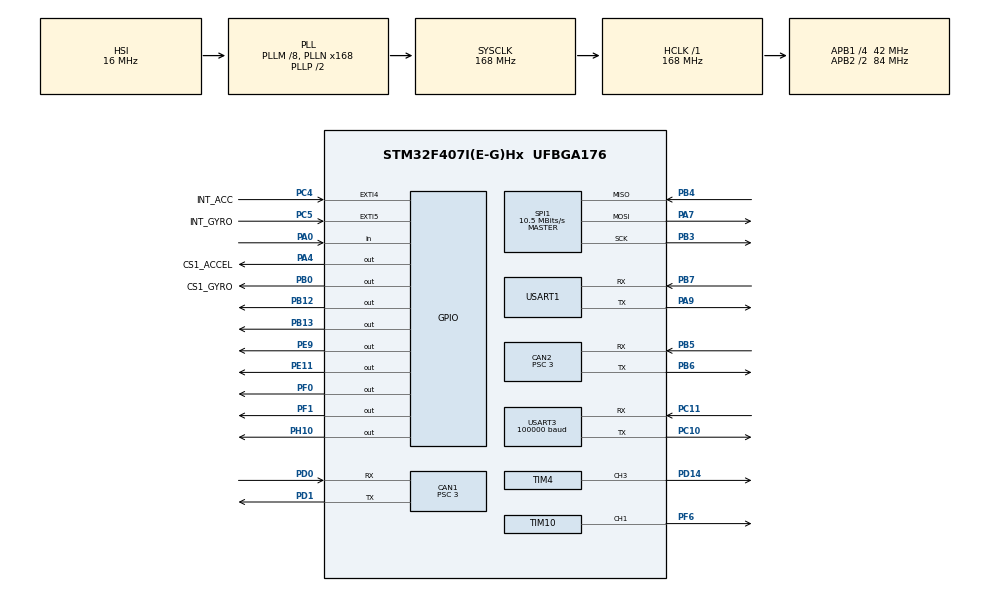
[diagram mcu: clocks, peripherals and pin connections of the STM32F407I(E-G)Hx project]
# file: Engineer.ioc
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CAN1.BS1=CAN_BS1_10TQ
CAN1.BS2=CAN_BS2_3TQ
CAN1.CalculateBaudRate=1000000
CAN1.CalculateTimeBit=1000
CAN1.CalculateTimeQuantum=71.42857142857143
CAN1.Prescaler=3
CAN2.BS1=CAN_BS1_10TQ
CAN2.BS2=CAN_BS2_3TQ
CAN2.CalculateBaudRate=1000000
CAN2.CalculateTimeBit=1000
CAN2.CalculateTimeQuantum=71.42857142857143
CAN2.Prescaler=3
Dma.Request0=USART3_RX
Dma.Request1=SPI1_RX
Dma.Request2=SPI1_TX
Dma.Request3=USART1_RX
Dma.SPI1_RX.1.Direction=DMA_PERIPH_TO_MEMORY
Dma.SPI1_RX.1.FIFOMode=DMA_FIFOMODE_ENABLE
Dma.SPI1_RX.1.FIFOThreshold=DMA_FIFO_THRESHOLD_FULL
Dma.SPI1_RX.1.Instance=DMA2_Stream0
Dma.SPI1_RX.1.MemBurst=DMA_MBURST_SINGLE
Dma.SPI1_RX.1.MemDataAlignment=DMA_MDATAALIGN_BYTE
Dma.SPI1_RX.1.MemInc=DMA_MINC_ENABLE
Dma.SPI1_RX.1.Mode=DMA_NORMAL
Dma.SPI1_RX.1.PeriphBurst=DMA_PBURST_SINGLE
Dma.SPI1_RX.1.PeriphDataAlignment=DMA_PDATAALIGN_BYTE
Dma.SPI1_RX.1.PeriphInc=DMA_PINC_DISABLE
Dma.SPI1_RX.1.Priority=DMA_PRIORITY_LOW
Dma.SPI1_TX.2.Direction=DMA_MEMORY_TO_PERIPH
Dma.SPI1_TX.2.FIFOMode=DMA_FIFOMODE_DISABLE
Dma.SPI1_TX.2.Instance=DMA2_Stream3
Dma.SPI1_TX.2.MemDataAlignment=DMA_MDATAALIGN_BYTE
Dma.SPI1_TX.2.MemInc=DMA_MINC_ENABLE
Dma.SPI1_TX.2.Mode=DMA_NORMAL
Dma.SPI1_TX.2.PeriphDataAlignment=DMA_PDATAALIGN_BYTE
Dma.SPI1_TX.2.PeriphInc=DMA_PINC_DISABLE
Dma.SPI1_TX.2.Priority=DMA_PRIORITY_LOW
Dma.USART1_RX.3.Direction=DMA_PERIPH_TO_MEMORY
Dma.USART1_RX.3.FIFOMode=DMA_FIFOMODE_DISABLE
Dma.USART1_RX.3.Instance=DMA2_Stream2
Dma.USART1_RX.3.MemDataAlignment=DMA_MDATAALIGN_BYTE
Dma.USART1_RX.3.MemInc=DMA_MINC_ENABLE
Dma.USART1_RX.3.Mode=DMA_CIRCULAR
Dma.USART1_RX.3.PeriphDataAlignment=DMA_PDATAALIGN_BYTE
Dma.USART1_RX.3.PeriphInc=DMA_PINC_DISABLE
Dma.USART1_RX.3.Priority=DMA_PRIORITY_HIGH
Dma.USART3_RX.0.Direction=DMA_PERIPH_TO_MEMORY
Dma.USART3_RX.0.FIFOMode=DMA_FIFOMODE_DISABLE
Dma.USART3_RX.0.Instance=DMA1_Stream1
Dma.USART3_RX.0.MemDataAlignment=DMA_MDATAALIGN_BYTE
Dma.USART3_RX.0.MemInc=DMA_MINC_ENABLE
Dma.USART3_RX.0.Mode=DMA_CIRCULAR
Dma.USART3_RX.0.PeriphDataAlignment=DMA_PDATAALIGN_BYTE
Dma.USART3_RX.0.PeriphInc=DMA_PINC_DISABLE
Dma.USART3_RX.0.Priority=DMA_PRIORITY_HIGH
FREERTOS.INCLUDE_vTaskDelayUntil=1
FREERTOS.Tasks01=ImuTask,1,512,ImuTask_f,Default,NULL,Dynamic,NULL,NULL;ChassisTask,1,512,ChassisTask_f,Default,NULL,Dynamic,NULL,NULL;ShootTask,1,512,ShootTask_f,Default,NULL,Dynamic,NULL,NULL;ArmTask,1,512,ArmTask_f,Default,NULL,Dynamic,NULL,NULL
FREERTOS.configENABLE_FPU=1
FREERTOS.configMAX_TASK_NAME_LEN=32
FREERTOS.configTOTAL_HEAP_SIZE=20000
FREERTOS.configUSE_COUNTING_SEMAPHORES=1
Mcu.Family=STM32F4
Mcu.Name=STM32F407I(E-G)Hx
Mcu.Package=UFBGA176
NVIC.CAN1_RX0_IRQn=true\:5\:0\:false\:false\:true\:true\:true\:true\:true
NVIC.CAN1_RX1_IRQn=true\:5\:0\:false\:false\:true\:true\:true\:true\:true
NVIC.CAN2_RX0_IRQn=true\:5\:0\:false\:false\:true\:true\:true\:true\:true
NVIC.CAN2_RX1_IRQn=true\:5\:0\:false\:false\:true\:true\:true\:true\:true
NVIC.DMA1_Stream1_IRQn=true\:5\:0\:false\:false\:true\:true\:false\:true\:true
NVIC.DMA2_Stream0_IRQn=true\:5\:0\:false\:false\:true\:true\:false\:true\:true
NVIC.DMA2_Stream2_IRQn=true\:5\:0\:false\:false\:true\:true\:false\:true\:true
NVIC.DMA2_Stream3_IRQn=true\:5\:0\:false\:false\:true\:true\:false\:true\:true
NVIC.PriorityGroup=NVIC_PRIORITYGROUP_4
NVIC.SPI1_IRQn=true\:5\:0\:false\:false\:true\:true\:true\:true\:true
NVIC.TIM8_TRG_COM_TIM14_IRQn=true\:15\:0\:false\:false\:true\:false\:false\:true\:true
NVIC.TimeBase=TIM8_TRG_COM_TIM14_IRQn
NVIC.TimeBaseIP=TIM14
PA0-WKUP.Signal=GPIO_Input
PA13.Mode=Serial_Wire
PA13.Signal=SYS_JTMS-SWDIO
PA14.Mode=Serial_Wire
PA14.Signal=SYS_JTCK-SWCLK
PA4.GPIO_Label=CS1_ACCEL
PA4.GPIO_PuPd=GPIO_PULLUP
PA4.GPIO_Speed=GPIO_SPEED_FREQ_HIGH
PA4.PinState=GPIO_PIN_SET
PA4.Signal=GPIO_Output
PA7.GPIO_PuPd=GPIO_PULLUP
PA7.Mode=Full_Duplex_Master
PA7.Signal=SPI1_MOSI
PA9.Mode=Asynchronous
PA9.Signal=USART1_TX
PB0.GPIO_Label=CS1_GYRO
PB0.GPIO_PuPd=GPIO_PULLUP
PB0.GPIO_Speed=GPIO_SPEED_FREQ_HIGH
PB0.PinState=GPIO_PIN_SET
PB0.Signal=GPIO_Output
PB12.Signal=GPIO_Output
PB13.PinState=GPIO_PIN_RESET
PB13.Signal=GPIO_Output
PB14.GPIO_Label=DI
PB14.Signal=SPI2_MISO
PB15.GPIO_Label=DO
PB15.Signal=SPI2_MOSI
PB3.GPIO_PuPd=GPIO_PULLUP
PB3.Mode=Full_Duplex_Master
PB3.Signal=SPI1_SCK
PB4.GPIO_PuPd=GPIO_PULLUP
PB4.Mode=Full_Duplex_Master
PB4.Signal=SPI1_MISO
PB5.Mode=CAN_Activate
PB5.Signal=CAN2_RX
PB6.Mode=CAN_Activate
PB6.Signal=CAN2_TX
PB7.Mode=Asynchronous
PB7.Signal=USART1_RX
PC10.Mode=Asynchronous
PC10.Signal=USART3_TX
PC11.Mode=Asynchronous
PC11.Signal=USART3_RX
PC4.GPIO_Label=INT_ACC
PC4.GPIO_ModeDefaultEXTI=GPIO_MODE_IT_FALLING
PC4.Signal=GPXTI4
PC5.GPIO_Label=INT_GYRO
PC5.GPIO_ModeDefaultEXTI=GPIO_MODE_IT_FALLING
PC5.Signal=GPXTI5
PD0.Mode=CAN_Activate
PD0.Signal=CAN1_RX
PD1.Mode=CAN_Activate
PD1.Signal=CAN1_TX
PD14.GPIO_Speed=GPIO_SPEED_FREQ_HIGH
PD14.Signal=S_TIM4_CH3
PE11.Signal=GPIO_Output
PE9.Signal=GPIO_Output
PF0.Signal=GPIO_Output
PF1.Signal=GPIO_Output
PF6.Signal=S_TIM10_CH1
PH0-OSC_IN.Mode=HSE-External-Oscillator
PH0-OSC_IN.Signal=RCC_OSC_IN
PH1-OSC_OUT.Mode=HSE-External-Oscillator
PH1-OSC_OUT.Signal=RCC_OSC_OUT
PH10.Signal=GPIO_Output
ProjectManager.HeapSize=0x9000
ProjectManager.StackSize=0x9000
ProjectManager.TargetToolchain=MDK-ARM V5.32
RCC.48MHZClocksFreq_Value=84000000
RCC.AHBFreq_Value=168000000
RCC.APB1CLKDivider=RCC_HCLK_DIV4
RCC.APB1Freq_Value=42000000
RCC.APB1TimFreq_Value=84000000
RCC.APB2CLKDivider=RCC_HCLK_DIV2
RCC.APB2Freq_Value=84000000
RCC.APB2TimFreq_Value=168000000
RCC.CortexFreq_Value=168000000
RCC.HCLKFreq_Value=168000000
RCC.HSE_VALUE=25000000
RCC.HSI_VALUE=16000000
RCC.LSE_VALUE=32768
RCC.PLLM=8
RCC.PLLN=168
RCC.SYSCLKFreq_VALUE=168000000
RCC.SYSCLKSource=RCC_SYSCLKSOURCE_PLLCLK
RCC.VCOOutputFreq_Value=336000000
SH.S_TIM10_CH1.0=TIM10_CH1,PWM Generation1 CH1
SH.S_TIM4_CH3.0=TIM4_CH3,PWM Generation3 CH3
SPI1.BaudRatePrescaler=SPI_BAUDRATEPRESCALER_8
SPI1.CLKPhase=SPI_PHASE_2EDGE
SPI1.CLKPolarity=SPI_POLARITY_HIGH
SPI1.CalculateBaudRate=10.5 MBits/s
SPI1.Direction=SPI_DIRECTION_2LINES
SPI1.Mode=SPI_MODE_MASTER
SPI1.VirtualType=VM_MASTER
STMicroelectronics.X-CUBE-ALGOBUILD.1.4.0.LibraryCcDSPOoLibraryJjDSPOoLibrary=true
TIM10.Channel=TIM_CHANNEL_1
TIM10.Period=50000
TIM10.Prescaler=168-1
TIM4.Channel-PWM\ Generation3\ CH3=TIM_CHANNEL_3
TIM4.Period=1000-1
USART1.VirtualMode=VM_ASYNC
USART3.BaudRate=100000
USART3.Parity=PARITY_EVEN
USART3.VirtualMode=VM_ASYNC
USART3.WordLength=WORDLENGTH_8B
VP_FREERTOS_VS_CMSIS_V1.Mode=CMSIS_V1
VP_STMicroelectronics.X-CUBE-ALGOBUILD_VS_DSPOoLibraryJjLibrary_1.4.0_1.4.0.Mode=DSPOoLibraryJjLibrary
VP_SYS_VS_tim14.Mode=TIM14
VP_TIM10_VS_ClockSourceINT.Mode=Enable_Timer
board=custom

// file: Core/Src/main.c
/* USER CODE BEGIN Header */
/**
  ******************************************************************************
  * @file           : main.c
  * @brief          : Main program body
  ******************************************************************************
  * @attention
  *
  * Copyright (c) 2024 STMicroelectronics.
  * All rights reserved.
  *
  * This software is licensed under terms that can be found in the LICENSE file
  * in the root directory of this software component.
  * If no LICENSE file comes with this software, it is provided AS-IS.
  *
  ******************************************************************************
  */
/* USER CODE END Header */
#include "main.h"
#include "cmsis_os.h"
#include "can.h"
#include "dma.h"
#include "spi.h"
#include "tim.h"
#include "usart.h"
#include "gpio.h"

/* USER CODE BEGIN Includes */
#include "chassis.h"
#include "arm.h"
#include "shoot.h"
#include "Test.h"
/* USER CODE END Includes */

void SystemClock_Config(void);
void MX_FREERTOS_Init(void);

int main(void)
{

  /* MCU Configuration--------------------------------------------------------*/

  /* Reset of all peripherals, Initializes the Flash interface and the Systick. */
  HAL_Init();

  /* Configure the system clock */
  SystemClock_Config();

  /* Initialize all configured peripherals */
  MX_GPIO_Init();
  MX_DMA_Init();
  MX_CAN1_Init();
  MX_CAN2_Init();
  MX_USART3_UART_Init();
  MX_SPI1_Init();
  MX_TIM10_Init();
  MX_USART1_UART_Init();
  MX_TIM4_Init();
  /* USER CODE BEGIN 2 */
//	ChassisInit();
//	ShootInit();
//	ArmInit();
	RobotCMDInit();
	ArmInit();
//	MotorInit();
//	all_init_Task();
  /* USER CODE END 2 */

  /* Call init function for freertos objects (in cmsis_os2.c) */
  MX_FREERTOS_Init();

  /* Start scheduler */
  osKernelStart();

  /* We should never get here as control is now taken by the scheduler */

  /* Infinite loop */
  while (1)
  {

  }
}

void SystemClock_Config(void)
{
  RCC_OscInitTypeDef RCC_OscInitStruct = {0};
  RCC_ClkInitTypeDef RCC_ClkInitStruct = {0};

  /** Configure the main internal regulator output voltage
  */
  __HAL_RCC_PWR_CLK_ENABLE();
  __HAL_PWR_VOLTAGESCALING_CONFIG(PWR_REGULATOR_VOLTAGE_SCALE1);

  /** Initializes the RCC Oscillators according to the specified parameters
  * in the RCC_OscInitTypeDef structure.
  */
  RCC_OscInitStruct.OscillatorType = RCC_OSCILLATORTYPE_HSI;
  RCC_OscInitStruct.HSIState = RCC_HSI_ON;
  RCC_OscInitStruct.HSICalibrationValue = RCC_HSICALIBRATION_DEFAULT;
  RCC_OscInitStruct.PLL.PLLState = RCC_PLL_ON;
  RCC_OscInitStruct.PLL.PLLSource = RCC_PLLSOURCE_HSI;
  RCC_OscInitStruct.PLL.PLLM = 8;
  RCC_OscInitStruct.PLL.PLLN = 168;
  RCC_OscInitStruct.PLL.PLLP = RCC_PLLP_DIV2;
  RCC_OscInitStruct.PLL.PLLQ = 4;
  if (HAL_RCC_OscConfig(&RCC_OscInitStruct) != HAL_OK)
  {
    Error_Handler();
  }

  /** Initializes the CPU, AHB and APB buses clocks
  */
  RCC_ClkInitStruct.ClockType = RCC_CLOCKTYPE_HCLK|RCC_CLOCKTYPE_SYSCLK
                              |RCC_CLOCKTYPE_PCLK1|RCC_CLOCKTYPE_PCLK2;
  RCC_ClkInitStruct.SYSCLKSource = RCC_SYSCLKSOURCE_PLLCLK;
  RCC_ClkInitStruct.AHBCLKDivider = RCC_SYSCLK_DIV1;
  RCC_ClkInitStruct.APB1CLKDivider = RCC_HCLK_DIV4;
  RCC_ClkInitStruct.APB2CLKDivider = RCC_HCLK_DIV2;

  if (HAL_RCC_ClockConfig(&RCC_ClkInitStruct, FLASH_LATENCY_5) != HAL_OK)
  {
    Error_Handler();
  }
}

void HAL_TIM_PeriodElapsedCallback(TIM_HandleTypeDef *htim)
{
  if (htim->Instance == TIM14)
  {
    HAL_IncTick();
  }
}

void Error_Handler(void)
{
  __disable_irq();
  while (1)
  {
  }
}

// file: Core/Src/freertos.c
/* USER CODE BEGIN Header */
/**
  ******************************************************************************
  * File Name          : freertos.c
  * Description        : Code for freertos applications
  ******************************************************************************
  * @attention
  *
  * Copyright (c) 2024 STMicroelectronics.
  * All rights reserved.
  *
  * This software is licensed under terms that can be found in the LICENSE file
  * in the root directory of this software component.
  * If no LICENSE file comes with this software, it is provided AS-IS.
  *
  ******************************************************************************
  */
/* USER CODE END Header */

#include "FreeRTOS.h"
#include "task.h"
#include "main.h"
#include "cmsis_os.h"

/* USER CODE BEGIN Includes */
#include "chassis.h"
#include "arm.h"
#include "shoot.h"
#include "ins_task.h"
#include "DJI_motor.h"
#include "Test.h"
/* USER CODE END Includes */

osThreadId ImuTaskHandle;
osThreadId ChassisTaskHandle;
osThreadId ShootTaskHandle;
osThreadId ArmTaskHandle;

void ImuTask_f(void const * argument);
void ChassisTask_f(void const * argument);
void ShootTask_f(void const * argument);
void ArmTask_f(void const * argument);

void MX_FREERTOS_Init(void); /* (MISRA C 2004 rule 8.1) */

/* GetIdleTaskMemory prototype (linked to static allocation support) */
void vApplicationGetIdleTaskMemory( StaticTask_t **ppxIdleTaskTCBBuffer, StackType_t **ppxIdleTaskStackBuffer, uint32_t *pulIdleTaskStackSize );

/* USER CODE BEGIN GET_IDLE_TASK_MEMORY */
static StaticTask_t xIdleTaskTCBBuffer;
static StackType_t xIdleStack[configMINIMAL_STACK_SIZE];

void vApplicationGetIdleTaskMemory( StaticTask_t **ppxIdleTaskTCBBuffer, StackType_t **ppxIdleTaskStackBuffer, uint32_t *pulIdleTaskStackSize )
{
  *ppxIdleTaskTCBBuffer = &xIdleTaskTCBBuffer;
  *ppxIdleTaskStackBuffer = &xIdleStack[0];
  *pulIdleTaskStackSize = configMINIMAL_STACK_SIZE;
  /* place for user code */
}
/* USER CODE END GET_IDLE_TASK_MEMORY */

void MX_FREERTOS_Init(void) {

  /* Create the thread(s) */
  /* definition and creation of ImuTask */
  osThreadDef(ImuTask, ImuTask_f, osPriorityAboveNormal, 0, 512);
  ImuTaskHandle = osThreadCreate(osThread(ImuTask), NULL);

  /* definition and creation of ChassisTask */
  osThreadDef(ChassisTask, ChassisTask_f, osPriorityAboveNormal, 0, 512);
  ChassisTaskHandle = osThreadCreate(osThread(ChassisTask), NULL);

  /* definition and creation of ShootTask */
  osThreadDef(ShootTask, ShootTask_f, osPriorityAboveNormal, 0, 512);
  ShootTaskHandle = osThreadCreate(osThread(ShootTask), NULL);

  /* definition and creation of ArmTask */
  osThreadDef(ArmTask, ArmTask_f, osPriorityAboveNormal, 0, 512);
  ArmTaskHandle = osThreadCreate(osThread(ArmTask), NULL);

}

void ImuTask_f(void const * argument)
{
  /* USER CODE BEGIN ImuTask_f */
  /* Infinite loop */
  for(;;)
  {
		song_task();
		//INS_Task();
    osDelay(1);
  }
  /* USER CODE END ImuTask_f */
}

void ChassisTask_f(void const * argument)
{
  /* USER CODE BEGIN ChassisTask_f */
  /* Infinite loop */
  for(;;)
  {
		Emotion_task();
		//all_cmd_Task();
    osDelay(1);
  }
  /* USER CODE END ChassisTask_f */
}

void ShootTask_f(void const * argument)
{
  /* USER CODE BEGIN ShootTask_f */
  /* Infinite loop */
  for(;;)
  {
		//ChassisTask();
		Arm_bsp();
		//state_control();
		//motorbsp();
    osDelay(1);
  }
  /* USER CODE END ShootTask_f */
}

void ArmTask_f(void const * argument)
{
  /* USER CODE BEGIN ArmTask_f */
  /* Infinite loop */
  for(;;)
	{
		armmotorbsp();
		//key_state();
	//	Gimbal_Control();
		osDelay(1);
//
  }
  /* USER CODE END ArmTask_f */
}
